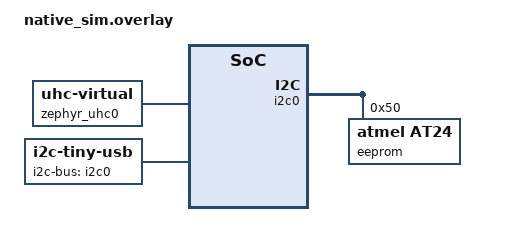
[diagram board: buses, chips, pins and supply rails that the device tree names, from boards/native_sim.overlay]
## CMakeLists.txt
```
# SPDX-FileCopyrightText: 2026 Muhammad Waleed Badar
# SPDX-License-Identifier: Apache-2.0

cmake_minimum_required(VERSION 3.20.0)
find_package(Zephyr REQUIRED HINTS $ENV{ZEPHYR_BASE})
project(test_usbd_i2c_tiny_usb)

# USB host stack internals used to issue requests to the device
target_include_directories(app PRIVATE ${ZEPHYR_BASE}/subsys/usb/host)

target_sources(app PRIVATE src/main.c)
```

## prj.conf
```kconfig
# SPDX-FileCopyrightText: 2026 Muhammad Waleed Badar
# SPDX-License-Identifier: Apache-2.0

CONFIG_ZTEST=y
CONFIG_LOG=y

CONFIG_USB_DEVICE_STACK_NEXT=y
CONFIG_I2C=y

CONFIG_UHC_DRIVER=y
CONFIG_USB_HOST_STACK=y

CONFIG_EMUL=y
CONFIG_EEPROM=y
CONFIG_EEPROM_AT2X_EMUL=y
```

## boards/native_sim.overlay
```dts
/*
 * SPDX-FileCopyrightText: 2026 Muhammad Waleed Badar
 * SPDX-FileCopyrightText: Copyright (c) 2023 Nordic Semiconductor ASA
 *
 * SPDX-License-Identifier: Apache-2.0
 */

/* Virtual USB host and device controllers, connected to each other */
/delete-node/ &zephyr_udc0;

/ {
	zephyr_uhc0: uhc_vrt0 {
		compatible = "zephyr,uhc-virtual";

		zephyr_udc0: udc_vrt0 {
			compatible = "zephyr,udc-virtual";
			num-bidir-endpoints = <8>;
			maximum-speed = "high-speed";
		};
	};

	i2c-tiny-usb {
		compatible = "i2c-tiny-usb";
		i2c-bus = <&i2c0>;
	};
};

&i2c0 {
	eeprom@50 {
		compatible = "atmel,at24";
		reg = <0x50>;
		size = <256>;
		pagesize = <8>;
		address-width = <8>;
		timeout = <5>;
	};
};
```

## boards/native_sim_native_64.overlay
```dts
/*
 * SPDX-FileCopyrightText: 2026 Muhammad Waleed Badar
 *
 * SPDX-License-Identifier: Apache-2.0
 */

#include "native_sim.overlay"
```

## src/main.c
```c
/*
 * SPDX-FileCopyrightText: 2026 Muhammad Waleed Badar
 * SPDX-FileCopyrightText: Copyright (c) 2023 Nordic Semiconductor ASA
 *
 * SPDX-License-Identifier: Apache-2.0
 */

#include <string.h>

#include <zephyr/sys/byteorder.h>
#include <zephyr/usb/usbd.h>
#include <zephyr/usb/usbh.h>
#include <zephyr/ztest.h>

#include <usbh_ch9.h>
#include <usbh_device.h>

#include <zephyr/logging/log.h>
LOG_MODULE_REGISTER(test_i2c_tiny_usb, LOG_LEVEL_INF);

/*
 * The requests below are the ones the Linux i2c-tiny-usb driver sends: all
 * of them are vendor requests to interface 0, except CMD_I2C_IO, which
 * carries the target address in wIndex.
 */
#define CMD_ECHO         0
#define CMD_GET_FUNC     1
#define CMD_SET_DELAY    2
#define CMD_GET_STATUS   3
#define CMD_I2C_IO       4
#define CMD_I2C_IO_BEGIN BIT(0)
#define CMD_I2C_IO_END   BIT(1)

#define STATUS_ADDRESS_ACK 1
#define STATUS_ADDRESS_NAK 2

#define TINY_USB_M_RD BIT(0)

#define REQTYPE_VENDOR_IF_IN                                                              \
	((USB_REQTYPE_DIR_TO_HOST << 7) | (USB_REQTYPE_TYPE_VENDOR << 5) |                   \
	 USB_REQTYPE_RECIPIENT_INTERFACE)
#define REQTYPE_VENDOR_IF_OUT                                                             \
	((USB_REQTYPE_DIR_TO_DEVICE << 7) | (USB_REQTYPE_TYPE_VENDOR << 5) |                 \
	 USB_REQTYPE_RECIPIENT_INTERFACE)

/* AT24 EEPROM emulator on the bridged bus, see boards/native_sim.overlay */
#define EEPROM_ADDR 0x50
#define ABSENT_ADDR 0x10

USBD_DEVICE_DEFINE(test_usbd, DEVICE_DT_GET(DT_NODELABEL(zephyr_udc0)), 0x1209, 0x0001);

USBD_DESC_LANG_DEFINE(test_lang);
USBD_CONFIGURATION_DEFINE(test_fs_config, 0, 50, NULL);
USBD_CONFIGURATION_DEFINE(test_hs_config, 0, 50, NULL);

USBH_CONTROLLER_DEFINE(uhs_ctx, DEVICE_DT_GET(DT_NODELABEL(zephyr_uhc0)));

static int vendor_in(const uint8_t bRequest, const uint16_t wValue, const uint16_t wIndex,
		     uint8_t *const data, const uint16_t wLength)
{
	struct usb_device *const udev = usbh_device_get_any(&uhs_ctx);
	struct net_buf *buf;
	int err;

	zassert_not_null(udev, "No USB device available");

	buf = usbh_xfer_buf_alloc(udev, wLength);
	zassert_not_null(buf, "Failed to allocate buffer");

	err = k_mutex_lock(&udev->mutex, K_MSEC(200));
	zassert_equal(err, 0, "Failed to lock device");

	err = usbh_req_setup(udev, REQTYPE_VENDOR_IF_IN, bRequest, wValue, wIndex, wLength, buf);
	if (err == 0) {
		zassert_equal(buf->len, wLength, "Short transfer, %u bytes", buf->len);
		memcpy(data, buf->data, wLength);
	}

	k_mutex_unlock(&udev->mutex);
	usbh_xfer_buf_free(udev, buf);

	return err;
}

static int vendor_out(const uint8_t bRequest, const uint16_t wValue, const uint16_t wIndex,
		      const uint8_t *const data, const uint16_t wLength)
{
	struct usb_device *const udev = usbh_device_get_any(&uhs_ctx);
	struct net_buf *buf = NULL;
	int err;

	zassert_not_null(udev, "No USB device available");

	if (wLength != 0U) {
		buf = usbh_xfer_buf_alloc(udev, wLength);
		zassert_not_null(buf, "Failed to allocate buffer");
		net_buf_add_mem(buf, data, wLength);
	}

	err = k_mutex_lock(&udev->mutex, K_MSEC(200));
	zassert_equal(err, 0, "Failed to lock device");

	err = usbh_req_setup(udev, REQTYPE_VENDOR_IF_OUT, bRequest, wValue, wIndex, wLength, buf);

	k_mutex_unlock(&udev->mutex);

	if (buf != NULL) {
		usbh_xfer_buf_free(udev, buf);
	}

	return err;
}

static uint8_t get_status(void)
{
	uint8_t status;

	zassert_ok(vendor_in(CMD_GET_STATUS, 0, 0, &status, sizeof(status)));

	return status;
}

ZTEST(i2c_tiny_usb, test_echo)
{
	uint8_t data[2];

	zassert_ok(vendor_in(CMD_ECHO, 0x1234, 0, data, sizeof(data)));
	zassert_equal(sys_get_le16(data), 0x1234, "Echo mismatch, 0x%04x", sys_get_le16(data));
}

ZTEST(i2c_tiny_usb, test_get_func)
{
	uint8_t data[4];

	zassert_ok(vendor_in(CMD_GET_FUNC, 0, 0, data, sizeof(data)));
	/* I2C_FUNC_I2C | I2C_FUNC_SMBUS_EMUL */
	zassert_equal(sys_get_le32(data), 0x0eff0009, "Unexpected functionality 0x%08x",
		      sys_get_le32(data));
}

ZTEST(i2c_tiny_usb, test_set_delay)
{
	/* Fast mode, a half-period of 1 us */
	zassert_ok(vendor_out(CMD_SET_DELAY, 1, 0, NULL, 0));
	/* Back to standard mode */
	zassert_ok(vendor_out(CMD_SET_DELAY, 10, 0, NULL, 0));
}

ZTEST(i2c_tiny_usb, test_write_read)
{
	const uint8_t write[] = {0x10, 0xde, 0xad, 0xbe, 0xef};
	const uint8_t reg = write[0];
	uint8_t read[sizeof(write) - 1];

	/* One message: register address followed by the data */
	zassert_ok(vendor_out(CMD_I2C_IO | CMD_I2C_IO_BEGIN | CMD_I2C_IO_END, 0, EEPROM_ADDR,
			      write, sizeof(write)));
	zassert_equal(get_status(), STATUS_ADDRESS_ACK);

	/* Two messages with a repeated start: register address, then a read */
	zassert_ok(vendor_out(CMD_I2C_IO | CMD_I2C_IO_BEGIN, 0, EEPROM_ADDR, &reg, sizeof(reg)));
	zassert_equal(get_status(), STATUS_ADDRESS_ACK);

	zassert_ok(vendor_in(CMD_I2C_IO | CMD_I2C_IO_END, TINY_USB_M_RD, EEPROM_ADDR, read,
			     sizeof(read)));
	zassert_equal(get_status(), STATUS_ADDRESS_ACK);

	zassert_mem_equal(read, &write[1], sizeof(read));
}

ZTEST(i2c_tiny_usb, test_absent_target)
{
	uint8_t data;

	/* The device answers with the requested length, the status reports the NAK */
	zassert_ok(vendor_in(CMD_I2C_IO | CMD_I2C_IO_BEGIN | CMD_I2C_IO_END, TINY_USB_M_RD,
			     ABSENT_ADDR, &data, sizeof(data)));
	zassert_equal(get_status(), STATUS_ADDRESS_NAK);
}

static void *i2c_tiny_usb_setup(void)
{
	int err;

	err = usbh_init(&uhs_ctx);
	zassert_ok(err, "Failed to initialize USB host");

	err = usbh_enable(&uhs_ctx);
	zassert_ok(err, "Failed to enable USB host");

	err = uhc_bus_reset(uhs_ctx.dev);
	zassert_ok(err, "Failed to signal bus reset");

	err = uhc_bus_resume(uhs_ctx.dev);
	zassert_ok(err, "Failed to signal bus resume");

	err = uhc_sof_enable(uhs_ctx.dev);
	zassert_ok(err, "Failed to enable SoF generator");

	err = usbd_add_descriptor(&test_usbd, &test_lang);
	zassert_ok(err, "Failed to add language descriptor");

	if (USBD_SUPPORTS_HIGH_SPEED && usbd_caps_speed(&test_usbd) == USBD_SPEED_HS) {
		err = usbd_add_configuration(&test_usbd, USBD_SPEED_HS, &test_hs_config);
		zassert_ok(err, "Failed to add configuration");

		err = usbd_register_class(&test_usbd, "i2c_tiny_usb", USBD_SPEED_HS, 1);
		zassert_ok(err, "Failed to register class");
	}

	err = usbd_add_configuration(&test_usbd, USBD_SPEED_FS, &test_fs_config);
	zassert_ok(err, "Failed to add configuration");

	err = usbd_register_class(&test_usbd, "i2c_tiny_usb", USBD_SPEED_FS, 1);
	zassert_ok(err, "Failed to register class");

	err = usbd_init(&test_usbd);
	zassert_ok(err, "Failed to initialize device support");

	err = usbd_enable(&test_usbd);
	zassert_ok(err, "Failed to enable device support");

	/* Allow the host time to enumerate the device */
	k_msleep(200);

	return NULL;
}

static void i2c_tiny_usb_teardown(void *f)
{
	zassert_ok(usbd_disable(&test_usbd));
	zassert_ok(usbd_shutdown(&test_usbd));
	zassert_ok(usbh_disable(&uhs_ctx));
}

ZTEST_SUITE(i2c_tiny_usb, NULL, i2c_tiny_usb_setup, NULL, NULL, i2c_tiny_usb_teardown);
```
